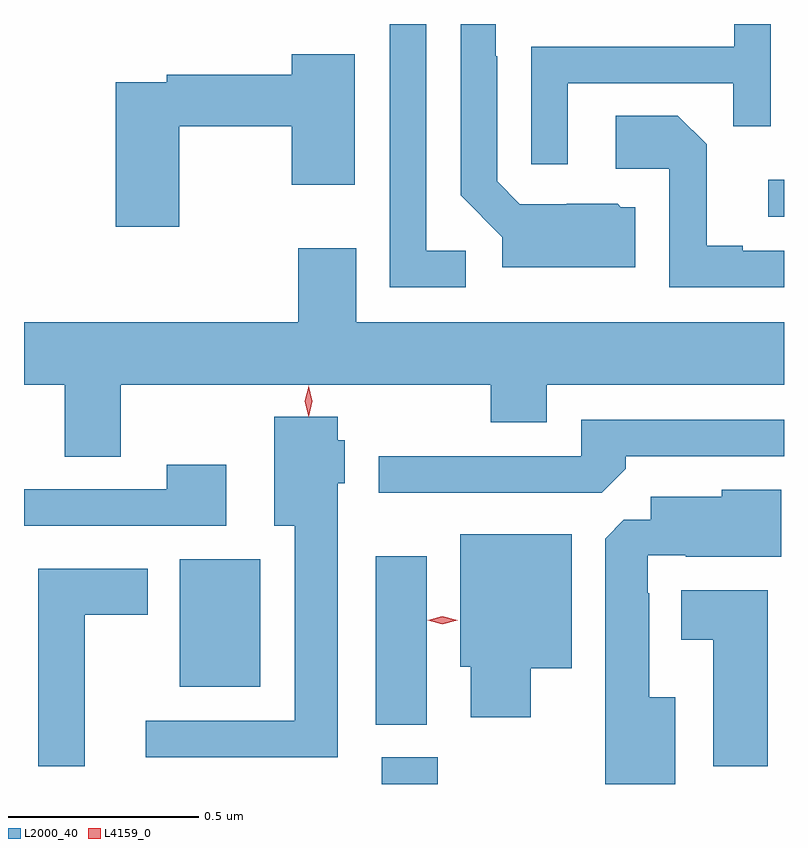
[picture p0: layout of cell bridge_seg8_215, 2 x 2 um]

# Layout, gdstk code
import gdstk
lib = gdstk.Library(unit=1e-6, precision=1e-09)
def R(c, l, rs):  # rectangles x0, y0, x1, y1
    for r in rs: c.add(gdstk.rectangle(r[:2], r[2:], *l))
def P(c, l, *ps):  # polygons
    for p in ps: c.add(gdstk.Polygon(p, *l))
L2000_40 = (2000, 40)
L4159_0 = (4159, 0)

bridge_seg8_215 = lib.new_cell('bridge_seg8_215')
R(bridge_seg8_215, L2000_40, [(154.277,1122.109,154.425,1122.18), (154.262,1122.265,154.396,1122.709), (153.746,1122.365,153.958,1122.7), (155.295,1123.602,155.336,1123.699)])
P(bridge_seg8_215, L2000_40, [(154.498,1123.512),(154.395,1123.512),(154.395,1124.109),(154.299,1124.109),(154.299,1123.416),(154.498,1123.416)],
  [(154.767,1123.953),(155.203,1123.953),(155.203,1123.84),(155.301,1123.84),(155.301,1124.109),(155.205,1124.109),(155.205,1124.049),(154.671,1124.049),(154.671,1123.74),(154.767,1123.74)],
  [(154.945,1123.627),(154.907,1123.627),(154.898,1123.636),(154.764,1123.636),(154.764,1123.635),(154.641,1123.635),(154.581,1123.695),(154.581,1124.024),(154.578,1124.024),(154.578,1124.109),(154.485,1124.109),(154.485,1123.658),(154.595,1123.548),(154.595,1123.469),(154.945,1123.469)],
  [(153.744,1123.84),(154.04,1123.84),(154.04,1123.686),(154.207,1123.686),(154.207,1124.029),(154.04,1124.029),(154.04,1123.976),(153.712,1123.976),(153.712,1123.956),(153.578,1123.956),(153.578,1123.575),(153.744,1123.575)],
  [(155.336,1123.512),(155.227,1123.512),(155.227,1123.525),(155.133,1123.525),(155.133,1123.792),(155.057,1123.868),(154.893,1123.868),(154.893,1123.728),(155.034,1123.728),(155.034,1123.416),(155.336,1123.416)],
  [(153.591,1123.16),(154.564,1123.16),(154.564,1123.061),(154.711,1123.061),(154.711,1123.16),(155.336,1123.16),(155.336,1123.324),(154.21,1123.324),(154.21,1123.519),(154.058,1123.519),(154.058,1123.324),(153.336,1123.324),(153.336,1123.16),(153.443,1123.16),(153.443,1122.97),(153.591,1122.97)],
  [(154.162,1122.9),(154.18,1122.9),(154.18,1123.014),(154.162,1123.014),(154.162,1123.075),(153.995,1123.075),(153.995,1122.788),(154.049,1122.788),(154.049,1122.276),(153.657,1122.276),(153.657,1122.179),(154.162,1122.179)],
  [(154.919,1122.938),(154.919,1122.972),(155.336,1122.972),(155.336,1123.068),(154.803,1123.068),(154.803,1122.972),(154.269,1122.972),(154.269,1122.876),(154.857,1122.876)],
  [(153.868,1122.949),(153.712,1122.949),(153.712,1122.885),(153.336,1122.885),(153.336,1122.789),(153.868,1122.789)],
  [(155.05,1122.337),(154.981,1122.337),(154.981,1122.611),(154.977,1122.611),(154.977,1122.711),(155.077,1122.711),(155.077,1122.707),(155.329,1122.707),(155.329,1122.883),(155.172,1122.883),(155.172,1122.865),(154.985,1122.865),(154.985,1122.804),(154.914,1122.804),(154.865,1122.755),(154.865,1122.109),(155.05,1122.109)],
  [(154.669,1122.413),(154.777,1122.413),(154.777,1122.766),(154.484,1122.766),(154.484,1122.417),(154.511,1122.417),(154.511,1122.285),(154.669,1122.285)],
  [(153.496,1122.554),(153.661,1122.554),(153.661,1122.676),(153.374,1122.676),(153.374,1122.156),(153.496,1122.156)],
  [(155.293,1122.619),(155.066,1122.619),(155.066,1122.488),(155.15,1122.488),(155.15,1122.156),(155.293,1122.156)])
P(bridge_seg8_215, L4159_0, [(154.437,1122.53),(154.398,1122.54),(154.398,1122.54),(154.398,1122.54),(154.437,1122.55),(154.477,1122.54),(154.477,1122.54),(154.477,1122.54)],
  [(154.085,1123.074),(154.085,1123.075),(154.075,1123.116),(154.085,1123.156),(154.085,1123.157),(154.085,1123.156),(154.095,1123.116),(154.085,1123.075)])

lib.write_gds('bridge_seg8_215.gds')
